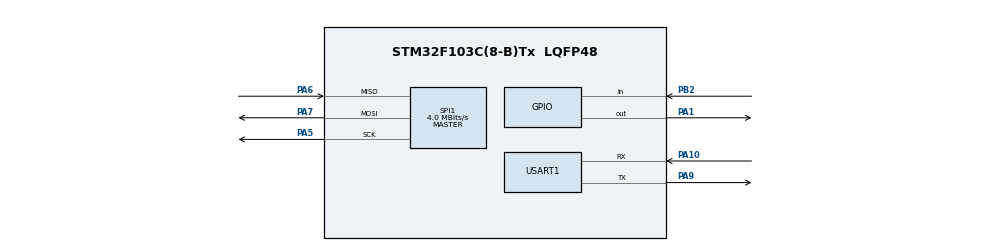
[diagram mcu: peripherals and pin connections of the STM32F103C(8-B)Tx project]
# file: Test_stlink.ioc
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Mcu.Family=STM32F1
Mcu.Name=STM32F103C(8-B)Tx
Mcu.Package=LQFP48
NVIC.PriorityGroup=NVIC_PRIORITYGROUP_4
PA1.Signal=GPIO_Output
PA10.Mode=Multiprocessor_communication
PA10.Signal=USART1_RX
PA5.Mode=Full_Duplex_Master
PA5.Signal=SPI1_SCK
PA6.Mode=Full_Duplex_Master
PA6.Signal=SPI1_MISO
PA7.Mode=Full_Duplex_Master
PA7.Signal=SPI1_MOSI
PA9.Mode=Multiprocessor_communication
PA9.Signal=USART1_TX
PB2.Signal=GPIO_Input
ProjectManager.HeapSize=0x200
ProjectManager.StackSize=0x400
ProjectManager.TargetToolchain=STM32CubeIDE
RCC.APB1Freq_Value=8000000
RCC.APB2Freq_Value=8000000
SPI1.CalculateBaudRate=4.0 MBits/s
SPI1.Direction=SPI_DIRECTION_2LINES
SPI1.Mode=SPI_MODE_MASTER
SPI1.VirtualType=VM_MASTER
USART1.VirtualMode=VM_ASYNC
board=custom

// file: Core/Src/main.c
/* USER CODE BEGIN Header */
/**
  ******************************************************************************
  * @file           : main.c
  * @brief          : Main program body
  ******************************************************************************
  * @attention
  *
  * Copyright (c) 2022 STMicroelectronics.
  * All rights reserved.
  *
  * This software is licensed under terms that can be found in the LICENSE file
  * in the root directory of this software component.
  * If no LICENSE file comes with this software, it is provided AS-IS.
  *
  ******************************************************************************
  */
/* USER CODE END Header */
#include "main.h"

/* USER CODE BEGIN Includes */
#include "leg7seg.h"
/* USER CODE END Includes */

/* USER CODE BEGIN PTD */
#include "main.h"

// Bảng mã LED 7 thanh (dạng hex)
uint8_t LED_7Segment_Code[10] = {
    0x3F, // 0
    0x06, // 1
    0x5B, // 2
    0x4F, // 3
    0x66, // 4
    0x6D, // 5
    0x7D, // 6
    0x07, // 7
    0x7F, // 8
    0x6F  // 9
};

// Hàm hiển thị 1 số trên LED 7 thanh qua SPI
void LED_DisplayDigit_SPI(SPI_HandleTypeDef *hspi, uint8_t digit) {
    if (digit > 9) return; // Kiểm tra số hiển thị phải từ 0-9

    uint8_t data = LED_7Segment_Code[digit]; // Lấy mã hex tương ứng
    HAL_SPI_Transmit(hspi, &data, 1, HAL_MAX_DELAY); // Truyền qua SPI
}

// Hàm hiển thị 2 chữ số (số nguyên 2 chữ số)
void LED_DisplayNumber_SPI(SPI_HandleTypeDef *hspi, int number) {
    if (number < 0 || number > 99) return; // Chỉ hiển thị số từ 0-99

    uint8_t digit1 = number / 10; // Chữ số hàng chục
    uint8_t digit2 = number % 10; // Chữ số hàng đơn vị

    // Gửi dữ liệu hàng chục
    LED_DisplayDigit_SPI(hspi, digit1);
    HAL_Delay(1); // Delay ngắn để ổn định tín hiệu

    // Gửi dữ liệu hàng đơn vị
    LED_DisplayDigit_SPI(hspi, digit2);
    HAL_Delay(1); // Delay ngắn để ổn định tín hiệu
}

/* USER CODE END PTD */

SPI_HandleTypeDef hspi1;

UART_HandleTypeDef huart1;

void SystemClock_Config(void);
static void MX_GPIO_Init(void);
static void MX_SPI1_Init(void);
static void MX_USART1_UART_Init(void);
/* USER CODE BEGIN PFP */
uint8_t SPIx_WriteRead(uint8_t Byte)
{
  uint8_t receivedbyte = 0;

  /* Send a Byte through the SPI peripheral */
  /* Read byte from the SPI bus */
  HAL_SPI_TransmitReceive(&hspi5, (uint8_t*) &Byte, (uint8_t*) &receivedbyte, 1, 0x1000);

  return receivedbyte;
}

void GYRO_IO_Read(uint8_t* pBuffer, uint8_t ReadAddr, uint16_t NumByteToRead)
{
  if(NumByteToRead > 0x01)
  {
    ReadAddr |= (uint8_t)(0x80 | 0x40);
  }
  else
  {
    ReadAddr |= (uint8_t)0x80;
  }
  /* Set chip select Low at the start of the transmission */
  HAL_GPIO_WritePin(NCS_MEM_GPIO_Port, NCS_MEM_Pin, GPIO_PIN_RESET);

  /* Send the Address of the indexed register */
  SPIx_WriteRead(ReadAddr);

  /* Receive the data that will be read from the device (MSB First) */
  while(NumByteToRead > 0x00)
  {
    /* Send dummy byte (0x00) to generate the SPI clock to Gyroscope (Slave device) */
    *pBuffer = SPIx_WriteRead(0);
    NumByteToRead--;
    pBuffer++;
  }

  /* Set chip select High at the end of the transmission */
  HAL_GPIO_WritePin(NCS_MEM_GPIO_Port, NCS_MEM_Pin, GPIO_PIN_SET);
}
void GYRO_IO_Write(uint8_t* pBuffer, uint8_t WriteAddr, uint16_t NumByteToWrite)
{
  /* Configure the MS bit:
       - When 0, the address will remain unchanged in multiple read/write commands.
       - When 1, the address will be auto incremented in multiple read/write commands.
  */
  if(NumByteToWrite > 0x01)
  {
    WriteAddr |= (uint8_t)0x40;
  }
  /* Set chip select Low at the start of the transmission */
  HAL_GPIO_WritePin(NCS_MEM_GPIO_Port, NCS_MEM_Pin, GPIO_PIN_RESET);

  /* Send the Address of the indexed register */
  SPIx_WriteRead(WriteAddr);

  /* Send the data that will be written into the device (MSB First) */
  while(NumByteToWrite >= 0x01)
  {
    SPIx_WriteRead(*pBuffer);
    NumByteToWrite--;
    pBuffer++;
  }

  /* Set chip select High at the end of the transmission */
  HAL_GPIO_WritePin(NCS_MEM_GPIO_Port, NCS_MEM_Pin, GPIO_PIN_SET);
}

void    GYRO_IO_Init(void)
{

}
uint8_t ID =0;

typedef enum
{
  GYRO_OK = 0,
  GYRO_ERROR = 1,
  GYRO_TIMEOUT = 2
}GYRO_StatusTypeDef;

static GYRO_DrvTypeDef *GyroscopeDrv;
uint8_t BSP_GYRO_Init(void)
{
  uint8_t ret = GYRO_ERROR;
  uint16_t ctrl = 0x0000;
  GYRO_InitTypeDef         L3GD20_InitStructure;
  GYRO_FilterConfigTypeDef L3GD20_FilterStructure = {0,0};

  if((L3gd20Drv.ReadID() == I_AM_L3GD20) || (L3gd20Drv.ReadID() == I_AM_L3GD20_TR))
  {
    /* Initialize the Gyroscope driver structure */
    GyroscopeDrv = &L3gd20Drv;

    /* MEMS configuration ----------------------------------------------------*/
    /* Fill the Gyroscope structure */
    L3GD20_InitStructure.Power_Mode = L3GD20_MODE_ACTIVE;
    L3GD20_InitStructure.Output_DataRate = L3GD20_OUTPUT_DATARATE_1;
    L3GD20_InitStructure.Axes_Enable = L3GD20_AXES_ENABLE;
    L3GD20_InitStructure.Band_Width = L3GD20_BANDWIDTH_4;
    L3GD20_InitStructure.BlockData_Update = L3GD20_BlockDataUpdate_Continous;
    L3GD20_InitStructure.Endianness = L3GD20_BLE_LSB;
    L3GD20_InitStructure.Full_Scale = L3GD20_FULLSCALE_500;

    /* Configure MEMS: data rate, power mode, full scale and axes */
    ctrl = (uint16_t) (L3GD20_InitStructure.Power_Mode | L3GD20_InitStructure.Output_DataRate | \
                      L3GD20_InitStructure.Axes_Enable | L3GD20_InitStructure.Band_Width);

    ctrl |= (uint16_t) ((L3GD20_InitStructure.BlockData_Update | L3GD20_InitStructure.Endianness | \
                        L3GD20_InitStructure.Full_Scale) << 8);

    /* Configure the Gyroscope main parameters */
    GyroscopeDrv->Init(ctrl);

    L3GD20_FilterStructure.HighPassFilter_Mode_Selection =L3GD20_HPM_NORMAL_MODE_RES;
    L3GD20_FilterStructure.HighPassFilter_CutOff_Frequency = L3GD20_HPFCF_0;

    ctrl = (uint8_t) ((L3GD20_FilterStructure.HighPassFilter_Mode_Selection |\
                       L3GD20_FilterStructure.HighPassFilter_CutOff_Frequency));

    /* Configure the Gyroscope main parameters */
    GyroscopeDrv->FilterConfig(ctrl) ;

    GyroscopeDrv->FilterCmd(L3GD20_HIGHPASSFILTER_ENABLE);

    ret = GYRO_OK;
  }
  return ret;
}

/* USER CODE END PFP */

/* USER CODE BEGIN 0 */
#if 0
uint8_t byte_truyen= 12,byte_nhan = 0;
void HAL_SPI_RxCpltCallback(SPI_HandleTypeDef *hspi)
{
	if(hspi->Instance == hspi1.Instance)
	{
		HAL_SPI_Receive_IT(&hspi1, &byte_nhan, 1);
	}
}
#endif
float xyz[3],x,y,z;
/* USER CODE END 0 */

int main(void)
{

  /* MCU Configuration--------------------------------------------------------*/

  /* Reset of all peripherals, Initializes the Flash interface and the Systick. */
  HAL_Init();

  /* Configure the system clock */
  SystemClock_Config();

  /* Initialize all configured peripherals */
  MX_GPIO_Init();
  MX_SPI1_Init();
  MX_USART1_UART_Init();
  /* USER CODE BEGIN 2 */
  HAL_Delay(2000);
#if 0
  HAL_SPI_Receive_IT(&hspi1, &byte_nhan, 1);
#endif

  //khởi tạo gyro
  BSP_GYRO_Init();
  /* USER CODE END 2 */

  /* Infinite loop */
  while (1)
  {

    /* USER CODE BEGIN 3 */
#if 1
	  HAL_GPIO_WritePin(NSS_GPIO_Port, NSS_Pin, GPIO_PIN_RESET);

	  HAL_SPI_Transmit(&hspi5, &byte_truyen, 1, 100);

	  //đi�?u khiển chân NSS
	  HAL_GPIO_WritePin(NSS_GPIO_Port, NSS_Pin, GPIO_PIN_SET);
	  HAL_Delay(1000);
#endif
	  L3GD20_ReadXYZAngRate(xyz);
	  x = xyz[0];
	  y = xyz[1];
	  z = xyz[2];

  }
  /* USER CODE END 3 */
}

void SystemClock_Config(void)
{
  RCC_OscInitTypeDef RCC_OscInitStruct = {0};
  RCC_ClkInitTypeDef RCC_ClkInitStruct = {0};

  /** Initializes the RCC Oscillators according to the specified parameters
  * in the RCC_OscInitTypeDef structure.
  */
  RCC_OscInitStruct.OscillatorType = RCC_OSCILLATORTYPE_HSI;
  RCC_OscInitStruct.HSIState = RCC_HSI_ON;
  RCC_OscInitStruct.HSICalibrationValue = RCC_HSICALIBRATION_DEFAULT;
  RCC_OscInitStruct.PLL.PLLState = RCC_PLL_NONE;
  if (HAL_RCC_OscConfig(&RCC_OscInitStruct) != HAL_OK)
  {
    Error_Handler();
  }

  /** Initializes the CPU, AHB and APB buses clocks
  */
  RCC_ClkInitStruct.ClockType = RCC_CLOCKTYPE_HCLK|RCC_CLOCKTYPE_SYSCLK
                              |RCC_CLOCKTYPE_PCLK1|RCC_CLOCKTYPE_PCLK2;
  RCC_ClkInitStruct.SYSCLKSource = RCC_SYSCLKSOURCE_HSI;
  RCC_ClkInitStruct.AHBCLKDivider = RCC_SYSCLK_DIV1;
  RCC_ClkInitStruct.APB1CLKDivider = RCC_HCLK_DIV1;
  RCC_ClkInitStruct.APB2CLKDivider = RCC_HCLK_DIV1;

  if (HAL_RCC_ClockConfig(&RCC_ClkInitStruct, FLASH_LATENCY_0) != HAL_OK)
  {
    Error_Handler();
  }
}

static void MX_SPI1_Init(void)
{

  /* SPI1 parameter configuration*/
  hspi1.Instance = SPI1;
  hspi1.Init.Mode = SPI_MODE_MASTER;
  hspi1.Init.Direction = SPI_DIRECTION_2LINES;
  hspi1.Init.DataSize = SPI_DATASIZE_8BIT;
  hspi1.Init.CLKPolarity = SPI_POLARITY_LOW;
  hspi1.Init.CLKPhase = SPI_PHASE_1EDGE;
  hspi1.Init.NSS = SPI_NSS_SOFT;
  hspi1.Init.BaudRatePrescaler = SPI_BAUDRATEPRESCALER_2;
  hspi1.Init.FirstBit = SPI_FIRSTBIT_MSB;
  hspi1.Init.TIMode = SPI_TIMODE_DISABLE;
  hspi1.Init.CRCCalculation = SPI_CRCCALCULATION_DISABLE;
  hspi1.Init.CRCPolynomial = 10;
  if (HAL_SPI_Init(&hspi1) != HAL_OK)
  {
    Error_Handler();
  }

}

static void MX_USART1_UART_Init(void)
{

  huart1.Instance = USART1;
  huart1.Init.BaudRate = 115200;
  huart1.Init.WordLength = UART_WORDLENGTH_8B;
  huart1.Init.StopBits = UART_STOPBITS_1;
  huart1.Init.Parity = UART_PARITY_NONE;
  huart1.Init.Mode = UART_MODE_TX_RX;
  huart1.Init.HwFlowCtl = UART_HWCONTROL_NONE;
  huart1.Init.OverSampling = UART_OVERSAMPLING_16;
  if (HAL_MultiProcessor_Init(&huart1, 0, UART_WAKEUPMETHOD_IDLELINE) != HAL_OK)
  {
    Error_Handler();
  }

}

static void MX_GPIO_Init(void)
{
  GPIO_InitTypeDef GPIO_InitStruct = {0};

  /* GPIO Ports Clock Enable */
  __HAL_RCC_GPIOA_CLK_ENABLE();
  __HAL_RCC_GPIOB_CLK_ENABLE();

  /*Configure GPIO pin Output Level */
  HAL_GPIO_WritePin(GPIOA, GPIO_PIN_1, GPIO_PIN_RESET);

  /*Configure GPIO pin : PA1 */
  GPIO_InitStruct.Pin = GPIO_PIN_1;
  GPIO_InitStruct.Mode = GPIO_MODE_OUTPUT_PP;
  GPIO_InitStruct.Pull = GPIO_NOPULL;
  GPIO_InitStruct.Speed = GPIO_SPEED_FREQ_LOW;
  HAL_GPIO_Init(GPIOA, &GPIO_InitStruct);

  /*Configure GPIO pin : PB2 */
  GPIO_InitStruct.Pin = GPIO_PIN_2;
  GPIO_InitStruct.Mode = GPIO_MODE_INPUT;
  GPIO_InitStruct.Pull = GPIO_NOPULL;
  HAL_GPIO_Init(GPIOB, &GPIO_InitStruct);

}

void Error_Handler(void)
{
  __disable_irq();
  while (1)
  {
  }
}
